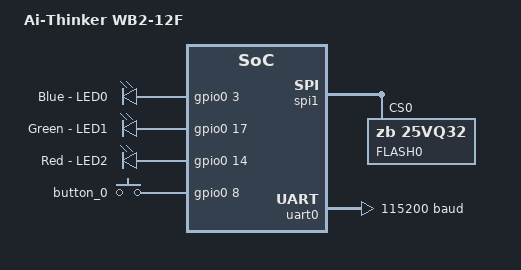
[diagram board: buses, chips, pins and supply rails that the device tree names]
/*
 * Copyright (c) 2024, MASSDRIVER EI (massdriver.space)
 * SPDX-License-Identifier: Apache-2.0
 */

/dts-v1/;

#include <bouffalolab/bl602.dtsi>
#include <zephyr/dt-bindings/gpio/gpio.h>
#include <zephyr/dt-bindings/input/input-event-codes.h>
#include "ai_wb2_12f-pinctrl.dtsi"

/ {
	model = "Ai-Thinker WB2-12F";
	compatible = "bflb,bl602";

	chosen {
		zephyr,flash = &flash0;
		zephyr,itcm = &itcm;
		zephyr,dtcm = &dtcm;
		zephyr,sram = &sram0;
		zephyr,console = &uart0;
		zephyr,shell-uart = &uart0;
		zephyr,i2c = &i2c0;
		led0 = &blue_led;
		led1 = &green_led;
		led2 = &red_led;
		/*
		pwm-led0 = &pwm_led_red;
		pwm-led1 = &pwm_led_green;
		pwm-led2 = &pwm_led_blue;
		*/
	};

	aliases {
		i2c-0 = &i2c0;
		led0 = &blue_led;
		sw0 = &button_0;
	};

	leds {
		compatible = "gpio-leds";

		blue_led: led_0 {
			gpios =  <&gpio0 3 GPIO_ACTIVE_HIGH>;
			label = "Blue - LED0";
		};

		green_led: led_1 {
			gpios =  <&gpio0 17 GPIO_ACTIVE_HIGH>;
			label = "Green - LED1";
		};

		red_led: led_2 {
			gpios =  <&gpio0 14 GPIO_ACTIVE_HIGH>;
			label = "Red - LED2";
		};
	};
/*
	pwmleds {
		compatible = "pwm-leds";
		pwm_led_red: pwm_led_0 {
			label = "Red PWM LED";
			pwms = <&ledc0 0 PWM_HZ(100) PWM_POLARITY_NORMAL>;
		};
		pwm_led_green: pwm_led_1 {
			label = "Green PWM LED";
			pwms = <&ledc0 1 PWM_HZ(100) PWM_POLARITY_NORMAL>;
		};
		pwm_led_blue: pwm_led_2 {
			label = "Blue PWM LED";
			pwms = <&ledc0 2 PWM_HZ(100) PWM_POLARITY_NORMAL>;
		};
	};*/

	buttons {
		compatible = "gpio-keys";
		button_0: sw0 {
			gpios = <&gpio0 8 (GPIO_ACTIVE_HIGH)>;
			zephyr,code = <INPUT_KEY_0>;
		};
	};
};

&cpu0 {
	clock-frequency = <192000000>;
};

&spi1 {
	reg = <0x4000b000 0x1000 0x23000000 0xc00000>;
	flash0: flash@0 {
		compatible = "zb,25vq32", "jedec,spi-nor";
		size = <4194304>;
		label = "FLASH0";
		reg = <0>;
		// Dummy entry
		spi-max-frequency = <0>;
	};
};

&uart0 {
	status = "okay";
	current-speed = <115200>;

	pinctrl-0 = <&uart0_default>;
	pinctrl-1 = <&uart0_sleep>;
	pinctrl-names = "default", "sleep";
};

&gpio0 {
	status = "okay";
};
